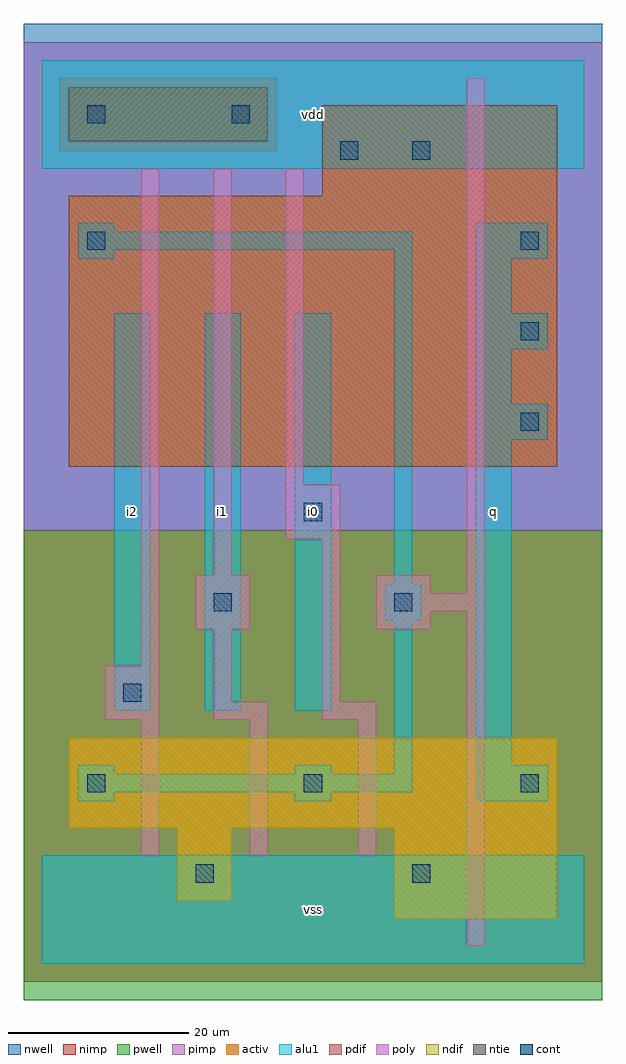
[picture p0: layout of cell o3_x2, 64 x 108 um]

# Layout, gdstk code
import gdstk
lib = gdstk.Library(unit=1e-6, precision=1e-09)
def R(c, l, rs):  # rectangles x0, y0, x1, y1
    for r in rs: c.add(gdstk.rectangle(r[:2], r[2:], *l))
def A(c, l, x, y, w, h, nx, ny, dx, dy):  # array of equal rectangles
    R(c, l, [(x+i*dx, y+j*dy, x+i*dx+w, y+j*dy+h) for i in range(nx) for j in range(ny)])
ndif = (3, 0)
pdif = (4, 0)
ntie = (5, 0)
cont = (25, 0)
pwell = (41, 0)
nwell = (42, 0)
activ = (43, 0)
pimp = (44, 0)
nimp = (45, 0)
poly = (46, 0)
alu1 = (49, 0)

o3_x2 = lib.new_cell('o3_x2')
R(o3_x2, ndif, [(39,5,57,15), (15,7,21,15), (3,15,57,25)])
R(o3_x2, pdif, [(3,55,57,85), (31,85,57,95)])
R(o3_x2, ntie, [(3,91,25,97)])
A(o3_x2, cont, 5, 19, 2, 2, 3, 1, 24, 0)
A(o3_x2, cont, 53, 59, 2, 2, 1, 3, 0, 10)
R(o3_x2, cont, [(17,9,19,11), (41,9,43,11), (9,29,11,31), (19,39,21,41), (39,39,41,41), (29,49,31,51), (5,79,7,81), (33,89,35,91), (41,89,43,91), (5,93,7,95), (21,93,23,95)])
R(o3_x2, pwell, [(-2,-4,62,48)])
R(o3_x2, nwell, [(-2,48,62,104)])
R(o3_x2, activ, [(39,5,57,15), (15,7,21,15), (3,15,57,25), (3,55,57,85), (31,85,57,95), (3,91,25,97)])
R(o3_x2, pimp, [(-2,48,62,90), (-2,90,2,98), (26,90,62,98), (-2,98,62,102)])
R(o3_x2, nimp, [(-2,-2,62,48), (2,90,26,98)])
A(o3_x2, poly, 11, 12, 2, 15, 3, 1, 12, 0)
R(o3_x2, poly, [(47,2,49,39), (7,27,13,33), (19,27,25,29), (31,27,37,29), (19,29,21,37), (31,29,33,47), (11,33,13,88), (17,37,23,43), (37,37,43,39), (37,39,49,41), (37,41,43,43), (47,41,49,98), (19,43,21,88), (27,47,33,53), (27,53,29,88)])
A(o3_x2, alu1, 8, 28, 4, 44, 3, 1, 10, 0)
A(o3_x2, alu1, 48, 58, 8, 4, 1, 3, 0, 10)
R(o3_x2, alu1, [(0,0,60,12), (4,18,8,19), (28,18,32,19), (48,18,56,22), (4,19,41,21), (4,21,8,22), (28,21,32,22), (39,21,41,38), (48,22,52,58), (38,38,42,42), (39,42,41,79), (48,62,52,68), (48,72,52,78), (4,78,8,79), (4,79,41,81), (4,81,8,82), (0,88,60,100)])
o3_x2.add(gdstk.Label('i2', (10,50), layer=49, texttype=0))
o3_x2.add(gdstk.Label('i1', (20,50), layer=49, texttype=0))
o3_x2.add(gdstk.Label('vss', (30,6), layer=49, texttype=0))
o3_x2.add(gdstk.Label('i0', (30,50), layer=49, texttype=0))
o3_x2.add(gdstk.Label('vdd', (30,94), layer=49, texttype=0))
o3_x2.add(gdstk.Label('q', (50,50), layer=49, texttype=0))

lib.write_gds('o3_x2.gds')
